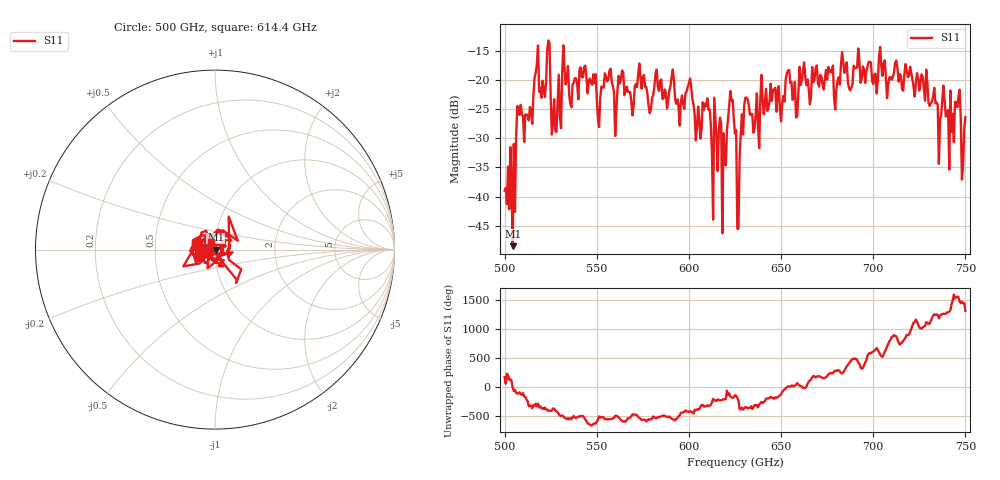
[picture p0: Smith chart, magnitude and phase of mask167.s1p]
!Created with skrf (http://scikit-rf.org).
# GHz S MA R 50.0
!freq magS11 angS11
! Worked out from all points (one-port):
!   401 points, 500 GHz to 750 GHz, reference 50 ohm
!   lowest |S11| = -48.5 dB at 504.4 GHz (marker M1), VSWR 1.01, Z = 50.4 - j0.112 ohm
!   |S11| at or under -10 dB: start of sweep to end of sweep
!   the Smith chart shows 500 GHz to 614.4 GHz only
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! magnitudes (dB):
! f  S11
! 500 GHz  -39.0
! 504.4 GHz  -48.5
! 507.5 GHz  -25.0
! 513.8 GHz  -24.6
! 516.9 GHz  -18.7
! 520.6 GHz  -20.1
! 523.8 GHz  -13.2
! 526.9 GHz  -23.3
! 531.2 GHz  -18.7
! 542.5 GHz  -19.5
! 551.2 GHz  -28.1
! 562.5 GHz  -20.6
! 578.8 GHz  -25.7
! 590.6 GHz  -19.4
! 593.8 GHz  -23.3
! 610 GHz  -23.1
! 611.9 GHz  -27.6
! 619.4 GHz  -32.6
! 623.1 GHz  -23.6
! 625 GHz  -29.2
! 626.9 GHz  -45.6
! 631.2 GHz  -23.0
! 636.9 GHz  -22.3
! 656.2 GHz  -23.4
! 684.4 GHz  -18.7
! 687.5 GHz  -21.8
! 718.8 GHz  -19.5
! 750 GHz  -26.3
